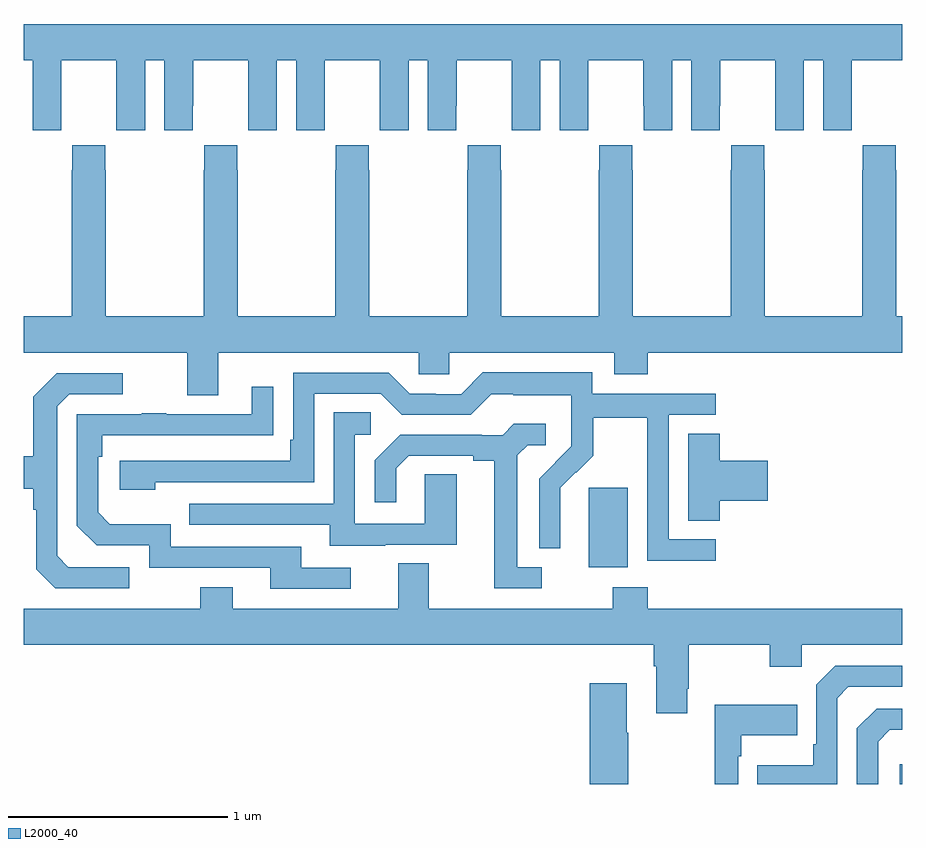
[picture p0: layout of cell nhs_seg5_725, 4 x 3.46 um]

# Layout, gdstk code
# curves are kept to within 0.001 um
import gdstk
lib = gdstk.Library(unit=1e-6, precision=1e-09)
def R(c, l, rs):  # rectangles x0, y0, x1, y1
    for r in rs: c.add(gdstk.rectangle(r[:2], r[2:], *l))
def P(c, l, *ps):  # polygons
    for p in ps: c.add(gdstk.Polygon(p, *l))
L2000_40 = (2000, 40)

nhs_seg5_725 = lib.new_cell('nhs_seg5_725')
R(nhs_seg5_725, L2000_40, [(160.989,850.799,161,850.888), (159.572,851.786,159.751,852.147)])
P(nhs_seg5_725, L2000_40, [(157.17,853.888),(157.171,853.888),(157.171,854.096),(157.421,854.096),(157.421,853.888),(157.422,853.888),(157.422,853.776),(157.552,853.776),(157.552,854.096),(157.64,854.096),(157.64,853.776),(157.77,853.776),(157.77,853.888),(157.771,853.888),(157.771,854.096),(158.021,854.096),(158.021,853.888),(158.022,853.888),(158.022,853.776),(158.152,853.776),(158.152,854.096),(158.24,854.096),(158.24,853.776),(158.37,853.776),(158.37,853.888),(158.371,853.888),(158.371,854.096),(158.621,854.096),(158.621,853.888),(158.622,853.888),(158.622,853.776),(158.752,853.776),(158.752,854.096),(158.84,854.096),(158.84,853.776),(158.97,853.776),(158.97,853.888),(158.971,853.888),(158.971,854.096),(159.221,854.096),(159.221,853.888),(159.222,853.888),(159.222,853.776),(159.352,853.776),(159.352,854.096),(159.44,854.096),(159.44,853.776),(159.57,853.776),(159.57,853.888),(159.571,853.888),(159.571,854.096),(159.821,854.096),(159.821,853.888),(159.822,853.888),(159.822,853.776),(159.952,853.776),(159.952,854.096),(160.04,854.096),(160.04,853.776),(160.17,853.776),(160.17,853.888),(160.171,853.888),(160.171,854.096),(160.421,854.096),(160.421,853.888),(160.422,853.888),(160.422,853.776),(160.552,853.776),(160.552,854.096),(160.64,854.096),(160.64,853.776),(160.77,853.776),(160.77,853.888),(160.771,853.888),(160.771,854.096),(161,854.096),(161,854.26),(157,854.26),(157,854.096),(157.04,854.096),(157.04,853.776),(157.17,853.776)],
  [(158.574,853.595),(158.571,853.595),(158.571,853.708),(158.421,853.708),(158.421,853.595),(158.419,853.595),(158.419,852.928),(157.974,852.928),(157.974,853.595),(157.971,853.595),(157.971,853.708),(157.821,853.708),(157.821,853.595),(157.819,853.595),(157.819,852.928),(157.374,852.928),(157.374,853.595),(157.371,853.595),(157.371,853.708),(157.221,853.708),(157.221,853.595),(157.219,853.595),(157.219,852.928),(157,852.928),(157,852.764),(157.745,852.764),(157.745,852.57),(157.885,852.57),(157.885,852.764),(158.799,852.764),(158.799,852.666),(158.937,852.666),(158.937,852.764),(159.689,852.764),(159.689,852.665),(159.842,852.665),(159.842,852.764),(161,852.764),(161,852.928),(160.974,852.928),(160.974,853.595),(160.971,853.595),(160.971,853.708),(160.821,853.708),(160.821,853.595),(160.819,853.595),(160.819,852.928),(160.374,852.928),(160.374,853.595),(160.371,853.595),(160.371,853.708),(160.221,853.708),(160.221,853.595),(160.219,853.595),(160.219,852.928),(159.774,852.928),(159.774,853.595),(159.771,853.595),(159.771,853.708),(159.621,853.708),(159.621,853.595),(159.619,853.595),(159.619,852.928),(159.174,852.928),(159.174,853.595),(159.171,853.595),(159.171,853.708),(159.021,853.708),(159.021,853.595),(159.019,853.595),(159.019,852.928),(158.574,852.928)],
  [(160.15,851.913),(159.936,851.913),(159.936,852.48),(160.15,852.48),(160.15,852.576),(159.588,852.576),(159.588,852.673),(159.091,852.673),(158.991,852.573),(158.876,852.573),(158.876,852.576),(158.757,852.576),(158.661,852.672),(158.226,852.672),(158.226,852.367),(158.213,852.367),(158.213,852.27),(157.437,852.27),(157.437,852.14),(157.598,852.14),(157.598,852.174),(158.322,852.174),(158.322,852.576),(158.625,852.576),(158.721,852.48),(159.036,852.48),(159.129,852.573),(159.229,852.573),(159.229,852.569),(159.492,852.569),(159.492,852.435),(159.494,852.435),(159.494,852.338),(159.348,852.19),(159.348,851.872),(159.444,851.872),(159.443,852.149),(159.513,852.219),(159.516,852.216),(159.593,852.293),(159.593,852.468),(159.838,852.468),(159.838,852.244),(159.84,852.244),(159.84,851.815),(160.15,851.815)],
  [(157.48,851.787),(157.203,851.787),(157.152,851.838),(157.152,852.519),(157.206,852.573),(157.45,852.573),(157.45,852.669),(157.149,852.669),(157.044,852.563),(157.044,852.291),(157,852.291),(157,852.143),(157.044,852.143),(157.044,852.047),(157.056,852.047),(157.056,851.778),(157.143,851.691),(157.48,851.691)],
  [(158.488,851.784),(158.263,851.784),(158.263,851.88),(157.668,851.88),(157.668,851.983),(157.391,851.983),(157.338,852.036),(157.338,852.29),(157.358,852.29),(157.358,852.387),(158.135,852.388),(158.135,852.607),(158.039,852.607),(158.039,852.483),(157.649,852.483),(157.649,852.488),(157.537,852.488),(157.537,852.483),(157.242,852.483),(157.242,851.976),(157.332,851.886),(157.572,851.886),(157.572,851.784),(158.123,851.784),(158.123,851.688),(158.488,851.688)],
  [(158.647,851.889),(158.971,851.889),(158.971,852.209),(158.826,852.209),(158.826,851.985),(158.508,851.985),(158.508,852.39),(158.581,852.39),(158.581,852.491),(158.412,852.491),(158.412,852.075),(157.753,852.075),(157.753,851.979),(158.393,851.979),(158.393,851.885),(158.647,851.885)],
  [(159.358,851.787),(159.247,851.787),(159.247,852.295),(159.294,852.342),(159.376,852.342),(159.376,852.439),(159.232,852.439),(159.18,852.387),(159.086,852.387),(159.086,852.39),(158.714,852.39),(158.598,852.274),(158.598,852.081),(158.695,852.081),(158.695,852.237),(158.752,852.294),(159.047,852.294),(159.047,852.272),(159.143,852.272),(159.143,851.691),(159.358,851.691)],
  [(160.169,852.089),(160.387,852.089),(160.387,852.272),(160.169,852.272),(160.169,852.395),(160.025,852.395),(160.025,851.998),(160.169,851.998)],
  [(160.021,851.233),(160.029,851.233),(160.029,851.432),(160.396,851.432),(160.396,851.333),(160.542,851.333),(160.542,851.432),(161,851.432),(161,851.596),(159.842,851.596),(159.842,851.695),(159.682,851.695),(159.682,851.596),(158.845,851.596),(158.845,851.804),(158.705,851.804),(158.705,851.596),(157.951,851.596),(157.951,851.695),(157.804,851.695),(157.804,851.596),(157,851.596),(157,851.432),(159.869,851.432),(159.869,851.336),(159.881,851.336),(159.881,851.121),(160.021,851.121)],
  [(160.704,851.19),(160.755,851.241),(161,851.241),(161,851.337),(160.695,851.337),(160.608,851.25),(160.608,850.981),(160.596,850.981),(160.596,850.885),(160.339,850.885),(160.339,850.799),(160.704,850.799)],
  [(159.753,851.033),(159.745,851.033),(159.745,851.257),(159.578,851.257),(159.578,850.799),(159.753,850.799)],
  [(160.254,850.925),(160.267,850.925),(160.267,851.021),(160.523,851.021),(160.523,851.161),(160.146,851.161),(160.146,850.799),(160.254,850.799)],
  [(160.89,850.992),(160.943,851.045),(161,851.045),(161,851.142),(160.884,851.142),(160.794,851.052),(160.794,850.799),(160.89,850.799)])

lib.write_gds('nhs_seg5_725.gds')
